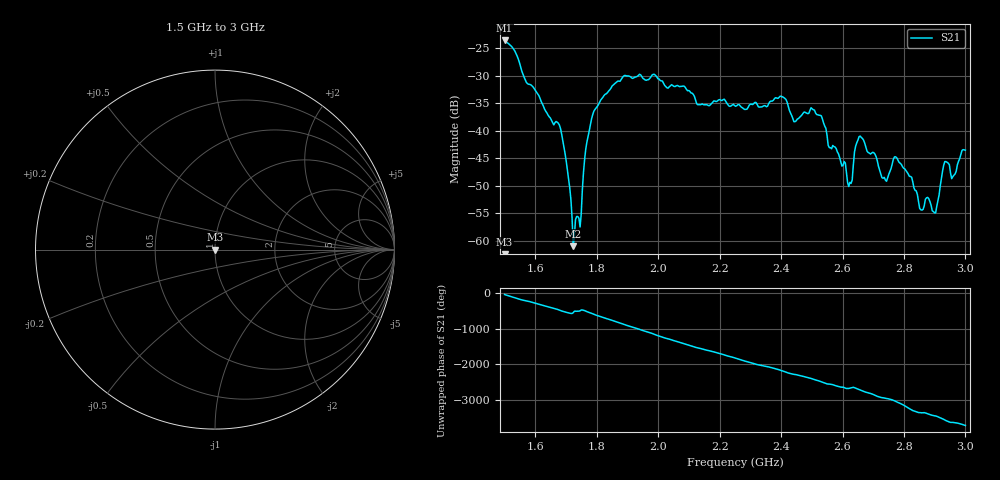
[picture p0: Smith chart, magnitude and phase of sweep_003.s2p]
# HZ S RI R 50
! BoneWave AI live acquisition
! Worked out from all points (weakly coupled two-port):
!   404 points, 1.5 GHz to 3 GHz, reference 50 ohm
!   highest |S21| = -23.58 dB at 1.5 GHz (marker M1); lowest = -61.0 dB at 1.723 GHz (marker M2)
!   lowest |S11| = - dB at 1.5 GHz (marker M3), VSWR 1.00, Z = 50 + j0 ohm
!   |S11| at or under -10 dB: start of sweep to end of sweep
!   S12 and S22 are empty: the file has one direction only
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1.5e9  0 0  0.0534 -0.0392  0 0  0 0
1.67866e9  0 0  -0.00463 -0.0102  0 0  0 0
1.704715e9  0 0  -0.00429 0.000328  0 0  0 0
1.723325e9  0 0  -0.000888 9.16e-05  0 0  0 0
1.741935e9  0 0  -0.00127 -0.000974  0 0  0 0
1.753102e9  0 0  -0.000984 -0.00275  0 0  0 0
1.775434e9  0 0  -0.00995 -0.000439  0 0  0 0
1.816377e9  0 0  0.012 0.0154  0 0  0 0
1.890819e9  0 0  -0.03 -0.0105  0 0  0 0
2.002481e9  0 0  -0.0148 -0.0256  0 0  0 0
2.251861e9  0 0  0.0155 -0.00627  0 0  0 0
2.445409e9  0 0  -0.0061 -0.0105  0 0  0 0
2.501241e9  0 0  -0.00723 0.0141  0 0  0 0
2.624069e9  0 0  -0.00272 -0.00203  0 0  0 0
2.657568e9  0 0  -0.00858 0.00252  0 0  0 0
2.75062e9  0 0  0.000288 -0.00401  0 0  0 0
2.776675e9  0 0  -0.0056 -0.00092  0 0  0 0
2.854839e9  0 0  -0.000773 -0.00175  0 0  0 0
2.899504e9  0 0  -0.00168 0.000639  0 0  0 0
2.933002e9  0 0  0.00389 0.00351  0 0  0 0
2.962779e9  0 0  0.00336 -0.00208  0 0  0 0
3e9  0 0  -0.00241 -0.00622  0 0  0 0
